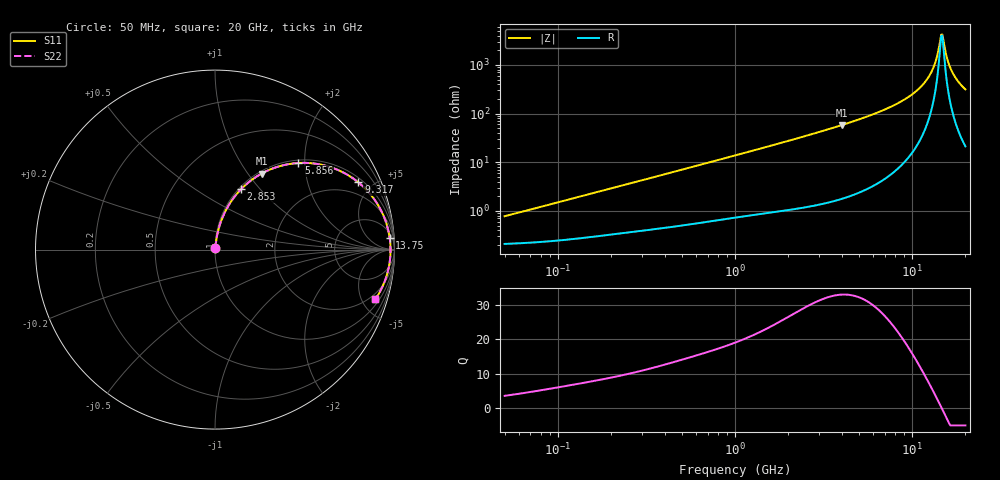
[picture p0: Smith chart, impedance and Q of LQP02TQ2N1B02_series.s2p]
!Murata Part Number: LQP02TQ2N1B02
!These Parameters are Measured in Series Mode Connection
!  o--[Z]--o
!Port1  Port2
!  o-------o
!Freq. Start=50[MHz] Stop=20[GHz], 401[Steps]
# Hz S RI R 50
!Freq.(Hz) S11(Real) S11(Imag) S21(Real) S21(Imag) S12(Real) S12(Imag) S22(Real) S22(Imag)
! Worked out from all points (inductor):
!   401 points, 50 MHz to 20 GHz, reference 50 ohm
!   read as one part in series: L = 2.37 nH near 51.52 MHz
!   highest Q = 32.9 at 4.027 GHz (marker M1), where L = 2.3 nH
!   self-resonance near 14.6 GHz
!   S11 on the Smith chart (normalised r, x): 50 MHz: 1.00, +0.01; 2.853 GHz: 1.03, +0.80; 5.856 GHz: 1.06, +1.86; 9.317 GHz: 1.23, +4.15; 13.75 GHz: 10, +26; 20 GHz: 1.42, -6.28
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5e7  0.00214 0.00744  0.9979 -0.00744  0.9979 -0.00744  0.00214 0.00744
1.364002e8  0.00314 0.0198  0.9969 -0.0198  0.9969 -0.0198  0.00314 0.0198
3.721004e8  0.007 0.0519  0.993 -0.0519  0.993 -0.0519  0.007 0.0519
1e9  0.0253 0.133  0.9747 -0.133  0.9747 -0.133  0.0253 0.133
2.728004e9  0.1339 0.3244  0.8661 -0.3244  0.8661 -0.3244  0.1339 0.3244
2.853386e9  0.1448 0.336  0.8552 -0.336  0.8552 -0.336  0.1448 0.336
4.026975e9  0.2601 0.4237  0.7399 -0.4237  0.7399 -0.4237  0.2601 0.4237
5.856089e9  0.4652 0.4825  0.5348 -0.4825  0.5348 -0.4825  0.4652 0.4825
7.442007e9  0.6358 0.4618  0.3642 -0.4618  0.3642 -0.4618  0.6358 0.4618
9.316812e9  0.7989 0.3745  0.2011 -0.3745  0.2011 -0.3745  0.7989 0.3745
1.082228e10  0.8905 0.2759  0.1095 -0.2759  0.1095 -0.2759  0.8905 0.2759
1.201863e10  0.9383 0.19  0.0617 -0.19  0.0617 -0.19  0.9383 0.19
1.295331e10  0.9618 0.1223  0.0382 -0.1223  0.0382 -0.1223  0.9618 0.1223
1.375312e10  0.9732 0.0655  0.0268 -0.0655  0.0268 -0.0655  0.9732 0.0655
1.438523e10  0.9774 0.0221  0.0226 -0.0221  0.0226 -0.0221  0.9774 0.0221
1.460232e10  0.9779 0.00755  0.0221 -0.00755  0.0221 -0.00755  0.9779 0.00755
1.482269e10  0.978 -0.00702  0.022 0.00702  0.022 0.00702  0.978 -0.00702
1.504638e10  0.9776 -0.0216  0.0224 0.0216  0.0224 0.0216  0.9776 -0.0216
1.597544e10  0.9719 -0.0795  0.0281 0.0795  0.0281 0.0795  0.9719 -0.0795
1.670968e10  0.9631 -0.1221  0.0369 0.1221  0.0369 0.1221  0.9631 -0.1221
1.828096e10  0.9346 -0.2034  0.0654 0.2034  0.0654 0.2034  0.9346 -0.2034
2e10  0.8931 -0.2771  0.1069 0.2771  0.1069 0.2771  0.8931 -0.2771
